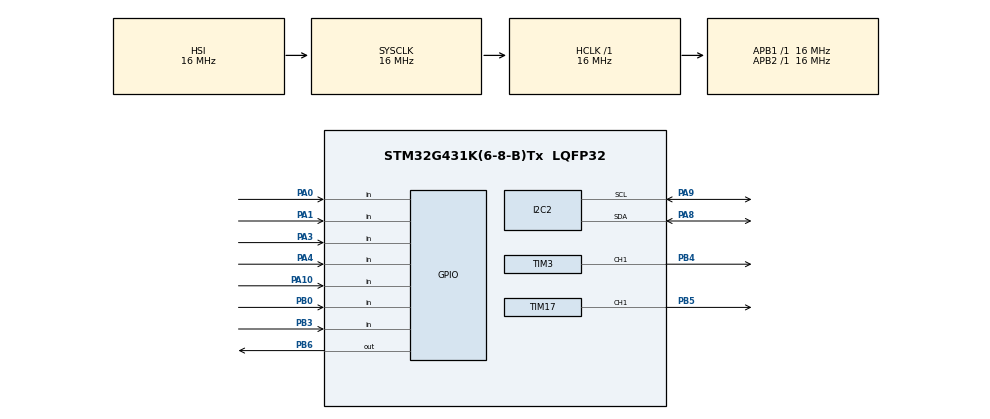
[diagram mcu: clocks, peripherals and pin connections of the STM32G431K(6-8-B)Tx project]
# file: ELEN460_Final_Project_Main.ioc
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I2C2.Speed=10
I2C2.Timing=0x40003EFF
Mcu.Family=STM32G4
Mcu.Name=STM32G431K(6-8-B)Tx
Mcu.Package=LQFP32
NVIC.PriorityGroup=NVIC_PRIORITYGROUP_4
PA0.GPIO_PuPd=GPIO_PULLUP
PA0.Signal=GPIO_Input
PA1.GPIO_PuPd=GPIO_PULLUP
PA1.Signal=GPIO_Input
PA10.GPIO_PuPd=GPIO_PULLUP
PA10.Signal=GPIO_Input
PA3.GPIO_PuPd=GPIO_PULLUP
PA3.Signal=GPIO_Input
PA4.GPIO_PuPd=GPIO_PULLUP
PA4.Signal=GPIO_Input
PA8.GPIO_Pu=GPIO_PULLUP
PA8.Mode=I2C
PA8.Signal=I2C2_SDA
PA9.GPIO_Pu=GPIO_PULLUP
PA9.Mode=I2C
PA9.Signal=I2C2_SCL
PB0.GPIO_PuPd=GPIO_PULLUP
PB0.Signal=GPIO_Input
PB3.GPIO_PuPd=GPIO_PULLUP
PB3.Signal=GPIO_Input
PB4.Signal=S_TIM3_CH1
PB5.Signal=S_TIM17_CH1
PB6.GPIO_PuPd=GPIO_PULLDOWN
PB6.Signal=GPIO_Output
ProjectManager.HeapSize=0x200
ProjectManager.StackSize=0x400
ProjectManager.TargetToolchain=EWARM V8.32
RCC.AHBFreq_Value=16000000
RCC.APB1Freq_Value=16000000
RCC.APB1TimFreq_Value=16000000
RCC.APB2Freq_Value=16000000
RCC.APB2TimFreq_Value=16000000
RCC.CortexFreq_Value=16000000
RCC.EXTERNAL_CLOCK_VALUE=12288000
RCC.HCLKFreq_Value=16000000
RCC.HSE_VALUE=8000000
RCC.HSI48_VALUE=48000000
RCC.HSI_VALUE=16000000
RCC.LSE_VALUE=32768
RCC.SYSCLKFreq_VALUE=16000000
RCC.USBFreq_Value=64000000
RCC.VCOOutputFreq_Value=128000000
SH.S_TIM17_CH1.0=TIM17_CH1,PWM Generation1 CH1
SH.S_TIM3_CH1.0=TIM3_CH1,PWM Generation1 CH1
TIM17.Channel=TIM_CHANNEL_1
TIM17.Prescaler=6
TIM3.Channel-PWM\ Generation1\ CH1=TIM_CHANNEL_1
TIM3.Prescaler=6
VP_SYS_VS_DBSignals.Mode=DisableDeadBatterySignals
VP_TIM17_VS_ClockSourceINT.Mode=Enable_Timer
board=custom

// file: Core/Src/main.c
/* USER CODE BEGIN Header */
/**
  ******************************************************************************
  * @file           : main.c
  * @brief          : Main program body
  ******************************************************************************
  * @attention
  *
  * <h2><center>&copy; Copyright (c) 2021 STMicroelectronics.
  * All rights reserved.</center></h2>
  *
  * This software component is licensed by ST under BSD 3-Clause license,
  * the "License"; You may not use this file except in compliance with the
  * License. You may obtain a copy of the License at:
  *                        opensource.org/licenses/BSD-3-Clause
  *
  ******************************************************************************
  */
/* USER CODE END Header */
#include "main.h"

/* USER CODE BEGIN Includes */
#include "KeyboardHoldRepeat.h"
#include <string.h>
/* USER CODE END Includes */

/* USER CODE BEGIN PTD */

// Button GPIO defined in main.h
#define COIL_PIN                GPIOB, GPIO_PIN_6
#define GOAL_1_PIN              GPIOB, GPIO_PIN_7
#define MOTOR_AIN1_PIN          GPIOB, GPIO_PIN_5
#define MOTOR_AIN2_PIN          GPIOB, GPIO_PIN_4
#define MOTOR_DIR_PIN           GPIOA, GPIO_PIN_10

// Game Logic
#define IDLE                    2
#define RUNNING                 3
#define END                     4

// Motor
#define MOTOR_STOP              0
#define MOTOR_RIGHT             1
#define MOTOR_LEFT              2
#define MOTOR_SPEED             20000

// I2C Device Addresses
//#define BOARD_ADDR              0x60
#define DISPLAY_1_ADDR          (0x70 << 1)
#define DISPLAY_2_ADDR          (0x71 << 1)
#define DISPLAY_3_ADDR          (0x72 << 1)
#define DISPLAY_4_ADDR          (0x73 << 1)

// Display system oscillator setup
#define DISPLAY_OSC_OFF                 0x20
#define DISPLAY_OSC_ON                  0x21
#define DISPLAY_OFF                     0x80
#define DISPLAY_ON                      0x81
#define DISPLAY_COM0_1                  0x00
#define DISPLAY_COM0_2                  0x01
#define DISPLAY_COM1_1                  0x02
#define DISPLAY_COM1_2                  0x03
#define DISPLAY_COM2_1                  0x04
#define DISPLAY_COM2_2                  0x05
#define DISPLAY_COM3_1                  0x06
#define DISPLAY_COM3_2                  0x07

// Display pins
#define A                        (1 << 0)
#define B                        (1 << 1)
#define C                        (1 << 2)
#define D                        (1 << 3)
#define E                        (1 << 4)
#define F                        (1 << 5)
#define G1                       (1 << 6)
#define G2                       (1 << 7)
#define H                        (1 << 0)
#define J                        (1 << 1)
#define K                        (1 << 2)
#define L                        (1 << 3)
#define M                        (1 << 4)
#define N                        (1 << 5)
#define DP                       (1 << 6)

#define NUMBER_OF_CHAR          16

/* USER CODE END PTD */

I2C_HandleTypeDef hi2c2;

TIM_HandleTypeDef htim3;
TIM_HandleTypeDef htim17;

/* USER CODE BEGIN PV */
uint8_t keyCode = NO_KEY_PRESSED;
uint8_t buttonPressed = false;

uint8_t state = RUNNING;

// Motor
uint8_t motorState = MOTOR_STOP;
uint8_t motorRightRequest = false;
uint8_t motorLeftRequest = false;
uint8_t limitRightSwitch = false;
uint8_t limitLeftSwitch = false;

// Display
uint8_t displayAddr = DISPLAY_1_ADDR;
uint8_t row0_7 = 0;
uint8_t row8_15 = 0;
uint8_t ram[8] = {DISPLAY_COM0_1,DISPLAY_COM0_2,DISPLAY_COM1_1,DISPLAY_COM1_2,DISPLAY_COM2_1,DISPLAY_COM2_2,DISPLAY_COM3_1,DISPLAY_COM3_2};
uint8_t buffer[3];
char arr[16];
char displayString[NUMBER_OF_CHAR];
uint8_t fireRequest = false;
uint8_t fireBusy = false;
uint8_t count = 0;
//uint8_t fireSingle = false;

/* USER CODE END PV */

void SystemClock_Config(void);
static void MX_GPIO_Init(void);
static void MX_TIM3_Init(void);
static void MX_TIM17_Init(void);
static void MX_I2C2_Init(void);
/* USER CODE BEGIN PFP */
void Motor_Set_State(uint8_t state);
void Motor_Set_AIN1(uint16_t duty);
void Motor_Set_AIN2(uint16_t duty);
void Display_Set_Char(uint8_t *first, uint8_t *second, char character);
void Display_Set(char *arr, uint8_t displayAddr);
void Display_Update_All(char *arr);
void Display_Init(uint8_t addr);
/* USER CODE END PFP */

/* USER CODE BEGIN 0 */
extern uint8_t ten_mS_Flag;
extern uint8_t twentyfive_mS_Flag;
extern uint8_t hundred_mS_Flag;
extern uint8_t twohundred_fifty_mS_Flag;
extern uint8_t five_hundred_mS_Flag;
extern uint8_t one_S_Flag;

/* USER CODE END 0 */

int main(void)
{

  /* MCU Configuration--------------------------------------------------------*/

  /* Reset of all peripherals, Initializes the Flash interface and the Systick. */
  HAL_Init();

  /* Configure the system clock */
  SystemClock_Config();

  /* Initialize all configured peripherals */
  MX_GPIO_Init();
  MX_TIM3_Init();
  MX_TIM17_Init();
  MX_I2C2_Init();
  /* USER CODE BEGIN 2 */
  HAL_TIM_PWM_Start_IT(&htim3, TIM_CHANNEL_1);
  HAL_TIM_PWM_Start_IT(&htim17, TIM_CHANNEL_1);

  // Initialize displays
  Display_Init(DISPLAY_1_ADDR);
  Display_Init(DISPLAY_2_ADDR);
  Display_Init(DISPLAY_3_ADDR);
  Display_Init(DISPLAY_4_ADDR);

  strcpy(displayString, "Insert Coin");

  Display_Update_All(displayString);

  /* USER CODE END 2 */

  /* Infinite loop */
  /* USER CODE BEGIN WHILE */
  while (1)
  {

    // 10mS Tasks
    if (ten_mS_Flag) {
      ten_mS_Flag = false;

    }

    // 25mS Tasks
    if (twentyfive_mS_Flag) {
      twentyfive_mS_Flag = false;

      /*
      // Motor test
      keyCode = ScanKeyboard();
      DebounceKeyCode(keyCode);

      // If we've gotten a valid debounced keyCode, process it
      if (processKeyCode == true) {
        ProcessKeyCode(keyCode);
      }

      motorDir = HAL_GPIO_ReadPin(MOTOR_DIR_PIN);

      if(buttonPressed) {
        // Update logic so that it only changes speed when different
        if(motorDir) {Motor_Set_State(MOTOR_FWD);}
        else {Motor_Set_State(MOTOR_REV);}
      }
      else {
        Motor_Set_State(MOTOR_STOP);
      }
      */

      keyCode = ScanKeyboard();
      DebounceKeyCode(keyCode);

      // If we've gotten a valid debounced keyCode, process it
      if (processKeyCode == true) {
        ProcessKeyCode(keyCode);
      }

      if(motorRightRequest && !limitRightSwitch) {
        Motor_Set_State(MOTOR_RIGHT);
      }
      else if(motorLeftRequest && !limitLeftSwitch) {
        Motor_Set_State(MOTOR_LEFT);
      }
      else {Motor_Set_State(MOTOR_STOP);}

    }

    // 100mS Tasks
    if (hundred_mS_Flag) {
      hundred_mS_Flag = false;
    }

    // 250ms Tasks
    if(twohundred_fifty_mS_Flag) {
      twohundred_fifty_mS_Flag = false;

      if(fireBusy) {
        fireBusy = false;
        HAL_GPIO_WritePin(COIL_PIN, GPIO_PIN_RESET);
      }

      if(fireRequest && !fireBusy) {
      //if(fireRequest) {
        fireRequest = false;
        fireBusy = true;
        HAL_GPIO_WritePin(COIL_PIN, GPIO_PIN_SET);
      }
    }

        // 500mS Tasks
    if (five_hundred_mS_Flag) {
      five_hundred_mS_Flag = false;

      //else {fireRequest = false;}

    }

    // 1 Sec Tasks
    if (one_S_Flag) {
      one_S_Flag = false;
    }

    switch(state) {
    case IDLE:

      break;
    case RUNNING:

      break;
    case END:

      break;

    }

    /* USER CODE END WHILE */

  }
}

void SystemClock_Config(void)
{
  RCC_OscInitTypeDef RCC_OscInitStruct = {0};
  RCC_ClkInitTypeDef RCC_ClkInitStruct = {0};
  RCC_PeriphCLKInitTypeDef PeriphClkInit = {0};

  /** Configure the main internal regulator output voltage
  */
  HAL_PWREx_ControlVoltageScaling(PWR_REGULATOR_VOLTAGE_SCALE1);
  /** Initializes the RCC Oscillators according to the specified parameters
  * in the RCC_OscInitTypeDef structure.
  */
  RCC_OscInitStruct.OscillatorType = RCC_OSCILLATORTYPE_HSI;
  RCC_OscInitStruct.HSIState = RCC_HSI_ON;
  RCC_OscInitStruct.HSICalibrationValue = RCC_HSICALIBRATION_DEFAULT;
  RCC_OscInitStruct.PLL.PLLState = RCC_PLL_NONE;
  if (HAL_RCC_OscConfig(&RCC_OscInitStruct) != HAL_OK)
  {
    Error_Handler();
  }
  /** Initializes the CPU, AHB and APB buses clocks
  */
  RCC_ClkInitStruct.ClockType = RCC_CLOCKTYPE_HCLK|RCC_CLOCKTYPE_SYSCLK
                              |RCC_CLOCKTYPE_PCLK1|RCC_CLOCKTYPE_PCLK2;
  RCC_ClkInitStruct.SYSCLKSource = RCC_SYSCLKSOURCE_HSI;
  RCC_ClkInitStruct.AHBCLKDivider = RCC_SYSCLK_DIV1;
  RCC_ClkInitStruct.APB1CLKDivider = RCC_HCLK_DIV1;
  RCC_ClkInitStruct.APB2CLKDivider = RCC_HCLK_DIV1;

  if (HAL_RCC_ClockConfig(&RCC_ClkInitStruct, FLASH_LATENCY_0) != HAL_OK)
  {
    Error_Handler();
  }
  /** Initializes the peripherals clocks
  */
  PeriphClkInit.I2c2ClockSelection = RCC_I2C2CLKSOURCE_PCLK1;
  if (HAL_RCCEx_PeriphCLKConfig(&PeriphClkInit) != HAL_OK)
  {
    Error_Handler();
  }
}

static void MX_I2C2_Init(void)
{

  hi2c2.Instance = I2C2;
  hi2c2.Init.Timing = 0x40003EFF;
  hi2c2.Init.OwnAddress1 = 0;
  hi2c2.Init.AddressingMode = I2C_ADDRESSINGMODE_7BIT;
  hi2c2.Init.DualAddressMode = I2C_DUALADDRESS_DISABLE;
  hi2c2.Init.OwnAddress2 = 0;
  hi2c2.Init.OwnAddress2Masks = I2C_OA2_NOMASK;
  hi2c2.Init.GeneralCallMode = I2C_GENERALCALL_DISABLE;
  hi2c2.Init.NoStretchMode = I2C_NOSTRETCH_DISABLE;
  if (HAL_I2C_Init(&hi2c2) != HAL_OK)
  {
    Error_Handler();
  }
  /** Configure Analogue filter
  */
  if (HAL_I2CEx_ConfigAnalogFilter(&hi2c2, I2C_ANALOGFILTER_ENABLE) != HAL_OK)
  {
    Error_Handler();
  }
  /** Configure Digital filter
  */
  if (HAL_I2CEx_ConfigDigitalFilter(&hi2c2, 0) != HAL_OK)
  {
    Error_Handler();
  }

}

static void MX_TIM3_Init(void)
{

  TIM_MasterConfigTypeDef sMasterConfig = {0};
  TIM_OC_InitTypeDef sConfigOC = {0};

  htim3.Instance = TIM3;
  htim3.Init.Prescaler = 4;
  htim3.Init.CounterMode = TIM_COUNTERMODE_UP;
  htim3.Init.Period = 65535;
  htim3.Init.ClockDivision = TIM_CLOCKDIVISION_DIV1;
  htim3.Init.AutoReloadPreload = TIM_AUTORELOAD_PRELOAD_DISABLE;
  if (HAL_TIM_PWM_Init(&htim3) != HAL_OK)
  {
    Error_Handler();
  }
  sMasterConfig.MasterOutputTrigger = TIM_TRGO_RESET;
  sMasterConfig.MasterSlaveMode = TIM_MASTERSLAVEMODE_DISABLE;
  if (HAL_TIMEx_MasterConfigSynchronization(&htim3, &sMasterConfig) != HAL_OK)
  {
    Error_Handler();
  }
  sConfigOC.OCMode = TIM_OCMODE_PWM1;
  sConfigOC.Pulse = 0;
  sConfigOC.OCPolarity = TIM_OCPOLARITY_HIGH;
  sConfigOC.OCFastMode = TIM_OCFAST_DISABLE;
  if (HAL_TIM_PWM_ConfigChannel(&htim3, &sConfigOC, TIM_CHANNEL_1) != HAL_OK)
  {
    Error_Handler();
  }
  HAL_TIM_MspPostInit(&htim3);

}

static void MX_TIM17_Init(void)
{

  TIM_OC_InitTypeDef sConfigOC = {0};
  TIM_BreakDeadTimeConfigTypeDef sBreakDeadTimeConfig = {0};

  htim17.Instance = TIM17;
  htim17.Init.Prescaler = 4;
  htim17.Init.CounterMode = TIM_COUNTERMODE_UP;
  htim17.Init.Period = 65535;
  htim17.Init.ClockDivision = TIM_CLOCKDIVISION_DIV1;
  htim17.Init.RepetitionCounter = 0;
  htim17.Init.AutoReloadPreload = TIM_AUTORELOAD_PRELOAD_DISABLE;
  if (HAL_TIM_Base_Init(&htim17) != HAL_OK)
  {
    Error_Handler();
  }
  if (HAL_TIM_PWM_Init(&htim17) != HAL_OK)
  {
    Error_Handler();
  }
  sConfigOC.OCMode = TIM_OCMODE_PWM1;
  sConfigOC.Pulse = 0;
  sConfigOC.OCPolarity = TIM_OCPOLARITY_HIGH;
  sConfigOC.OCNPolarity = TIM_OCNPOLARITY_HIGH;
  sConfigOC.OCFastMode = TIM_OCFAST_DISABLE;
  sConfigOC.OCIdleState = TIM_OCIDLESTATE_RESET;
  sConfigOC.OCNIdleState = TIM_OCNIDLESTATE_RESET;
  if (HAL_TIM_PWM_ConfigChannel(&htim17, &sConfigOC, TIM_CHANNEL_1) != HAL_OK)
  {
    Error_Handler();
  }
  sBreakDeadTimeConfig.OffStateRunMode = TIM_OSSR_DISABLE;
  sBreakDeadTimeConfig.OffStateIDLEMode = TIM_OSSI_DISABLE;
  sBreakDeadTimeConfig.LockLevel = TIM_LOCKLEVEL_OFF;
  sBreakDeadTimeConfig.DeadTime = 0;
  sBreakDeadTimeConfig.BreakState = TIM_BREAK_DISABLE;
  sBreakDeadTimeConfig.BreakPolarity = TIM_BREAKPOLARITY_HIGH;
  sBreakDeadTimeConfig.BreakFilter = 0;
  sBreakDeadTimeConfig.AutomaticOutput = TIM_AUTOMATICOUTPUT_DISABLE;
  if (HAL_TIMEx_ConfigBreakDeadTime(&htim17, &sBreakDeadTimeConfig) != HAL_OK)
  {
    Error_Handler();
  }
  HAL_TIM_MspPostInit(&htim17);

}

static void MX_GPIO_Init(void)
{
  GPIO_InitTypeDef GPIO_InitStruct = {0};

  /* GPIO Ports Clock Enable */
  __HAL_RCC_GPIOA_CLK_ENABLE();
  __HAL_RCC_GPIOB_CLK_ENABLE();

  /*Configure GPIO pin Output Level */
  HAL_GPIO_WritePin(GPIOB, GPIO_PIN_6, GPIO_PIN_RESET);

  /*Configure GPIO pins : PA0 PA1 PA3 PA4
                           PA10 */
  GPIO_InitStruct.Pin = GPIO_PIN_0|GPIO_PIN_1|GPIO_PIN_3|GPIO_PIN_4
                          |GPIO_PIN_10;
  GPIO_InitStruct.Mode = GPIO_MODE_INPUT;
  GPIO_InitStruct.Pull = GPIO_PULLUP;
  HAL_GPIO_Init(GPIOA, &GPIO_InitStruct);

  /*Configure GPIO pins : PB0 PB3 */
  GPIO_InitStruct.Pin = GPIO_PIN_0|GPIO_PIN_3;
  GPIO_InitStruct.Mode = GPIO_MODE_INPUT;
  GPIO_InitStruct.Pull = GPIO_PULLUP;
  HAL_GPIO_Init(GPIOB, &GPIO_InitStruct);

  /*Configure GPIO pin : PB6 */
  GPIO_InitStruct.Pin = GPIO_PIN_6;
  GPIO_InitStruct.Mode = GPIO_MODE_OUTPUT_PP;
  GPIO_InitStruct.Pull = GPIO_PULLDOWN;
  GPIO_InitStruct.Speed = GPIO_SPEED_FREQ_LOW;
  HAL_GPIO_Init(GPIOB, &GPIO_InitStruct);

}

/* USER CODE BEGIN 4 */
void Motor_Set_State(uint8_t state) {

  switch(state){
  case MOTOR_STOP:
    // Set AIN1 and AIN2 to full duty to brake the motor
    Motor_Set_AIN1(0);
    Motor_Set_AIN2(0);
    break;
  case MOTOR_RIGHT:
    Motor_Set_AIN1(MOTOR_SPEED);
    Motor_Set_AIN2(0);
    break;
  case MOTOR_LEFT:
    Motor_Set_AIN1(0);
    Motor_Set_AIN2(MOTOR_SPEED);
    break;
  }
}

void Motor_Set_AIN1(uint16_t duty) {
  TIM_OC_InitTypeDef sConfigOC = {0};

  sConfigOC.OCMode = TIM_OCMODE_PWM1;
  sConfigOC.Pulse = duty;
  sConfigOC.OCPolarity = TIM_OCPOLARITY_HIGH;
  sConfigOC.OCNPolarity = TIM_OCNPOLARITY_HIGH;
  sConfigOC.OCFastMode = TIM_OCFAST_DISABLE;
  sConfigOC.OCIdleState = TIM_OCIDLESTATE_RESET;
  sConfigOC.OCNIdleState = TIM_OCNIDLESTATE_RESET;

  HAL_TIM_PWM_Stop(&htim17, TIM_CHANNEL_1);
  HAL_TIM_PWM_ConfigChannel(&htim17, &sConfigOC, TIM_CHANNEL_1);
  HAL_TIM_PWM_Start(&htim17, TIM_CHANNEL_1);

}

void Motor_Set_AIN2(uint16_t duty) {
  TIM_OC_InitTypeDef sConfigOC = {0};

  sConfigOC.OCMode = TIM_OCMODE_PWM1;
  sConfigOC.Pulse = duty;
  sConfigOC.OCPolarity = TIM_OCPOLARITY_HIGH;
  sConfigOC.OCNPolarity = TIM_OCNPOLARITY_HIGH;
  sConfigOC.OCFastMode = TIM_OCFAST_DISABLE;
  sConfigOC.OCIdleState = TIM_OCIDLESTATE_RESET;
  sConfigOC.OCNIdleState = TIM_OCNIDLESTATE_RESET;

  HAL_TIM_PWM_Stop(&htim3, TIM_CHANNEL_1);
  HAL_TIM_PWM_ConfigChannel(&htim3, &sConfigOC, TIM_CHANNEL_1);
  HAL_TIM_PWM_Start(&htim3, TIM_CHANNEL_1);

}

void Display_Set_Char(uint8_t *first, uint8_t *second, char character){

  switch(character){
  case '0':
    *first = A | B | C | D | E | F;
    *second = 0;
    break;
  case '1':
    *first = B | C;
    *second = 0;
    break;
  case '2':
    *first = A | B | D | E | G1 | G2;
    *second = 0;
    break;
  case '3':
    *first = A | B | C | D | G1 | G2;
    *second = 0;
    break;
  case '4':
    *first = B | C | F | G1 | G2;
    *second = 0;
    break;
  case '5':
    *first = A | C | D | F | G1 | G2;
    *second = 0;
    break;
  case '6':
    *first = A | C | D | E | F | G1 | G2;
    *second = 0;
    break;
  case '7':
    *first = A | B | C;
    *second = 0;
    break;
  case '8':
    *first = A | B | C | D | E | F | G1 | G2;
    *second = 0;
    break;
  case '9':
    *first = A | B | C | D | F | G1 | G2;
    *second = 0;
    break;
  case 'a':
  case 'A':
    *first = A | B | C | E | F | G1 | G2;
    *second = 0;
    break;
  case 'b':
  case 'B':
    *first = C | D | E | F | G1 | G2;
    *second = 0;
    break;
  case 'c':
  case 'C':
    *first = A | D | E | F;
    *second = 0;
    break;
  case 'd':
  case 'D':
    *first = A | B | C | D;
    *second = J | M;
    break;
  case 'e':
  case 'E':
    *first = A | D | E | F | G1 | G2;
    *second = 0;
    break;
  case 'f':
  case 'F':
    *first = A | E | F | G1 | G2;
    *second = 0;
    break;
  case 'g':
  case 'G':

    break;
  case 'h':
  case 'H':
    *first = B | C | E | F | G1 | G2;
    *second = 0;
    break;
  case 'i':
  case 'I':
    *first = A | D;
    *second = J | M;
    break;
  case 'j':
  case 'J':
    *first = B | C | D | E;
    *second = 0;
    break;
  case 'k':
  case 'K':
    *first = E | F | G1;
    *second = K | N;
    break;
  case 'l':
  case 'L':
    *first = D | E | F;
    *second = 0;
    break;
  case 'm':
  case 'M':
    *first = B | C | E | F;
    *second = H | K;
    break;
  case 'n':
  case 'N':
    *first = B | C | E | F;
    *second = H | N;
    break;
  case 'o':
  case 'O':
    *first = A | B | C | D | E | F;
    *second = 0;
    break;
  case 'p':
  case 'P':
    *first = A | B | E | F | G1 | G2;
    *second = 0;
    break;
  case 'q':
  case 'Q':

    break;
  case 'r':
  case 'R':
    *first = A | B | E | F | G1 | G2;
    *second = N;
    break;
  case 's':
  case 'S':
    *first = A | C | D | F | G1 | G2;
    *second = 0;
    break;
  case 't':
  case 'T':
    *first = A;
    *second = J | M;
    break;
  case 'u':
  case 'U':
    *first = B | C | D | E | F;
    *second = 0;
    break;
  case 'v':
  case 'V':

    break;
  case 'w':
  case 'W':

    break;
  case 'x':
  case 'X':

    break;
  case 'y':
  case 'Y':

    break;
  case 'z':
  case 'Z':

    break;

  default:
    *first = 0;
    *second = 0;
    break;
  }

}

void Display_Init(uint8_t addr){
  // Start internal clock
  uint8_t buf[2] = {DISPLAY_OSC_ON,0};
  HAL_I2C_Master_Transmit(&hi2c2, addr, buf, 1, HAL_MAX_DELAY);

  // Turn off all LEDs on display 1
  buf[0] = DISPLAY_COM0_1;
  buf[1] = 0;
  HAL_I2C_Master_Transmit(&hi2c2, addr, buf, 2, HAL_MAX_DELAY);
  buf[0] = DISPLAY_COM0_2;
  buf[1] = 0;
  HAL_I2C_Master_Transmit(&hi2c2, addr, buf, 2, HAL_MAX_DELAY);

  // Turn off all LEDs on display 2
  buf[0] = DISPLAY_COM1_1;
  buf[1] = 0;
  HAL_I2C_Master_Transmit(&hi2c2, addr, buf, 2, HAL_MAX_DELAY);
  buf[0] = DISPLAY_COM1_2;
  buf[1] = 0;
  HAL_I2C_Master_Transmit(&hi2c2, addr, buf, 2, HAL_MAX_DELAY);

  // Turn off all LEDs on display 3
  buf[0] = DISPLAY_COM2_1;
  buf[1] = 0;
  HAL_I2C_Master_Transmit(&hi2c2, addr, buf, 2, HAL_MAX_DELAY);
  buf[0] = DISPLAY_COM2_2;
  buf[1] = 0;
  HAL_I2C_Master_Transmit(&hi2c2, addr, buf, 2, HAL_MAX_DELAY);

  // Turn off all LEDs on display 4
  buf[0] = DISPLAY_COM3_1;
  buf[1] = 0;
  HAL_I2C_Master_Transmit(&hi2c2, addr, buf, 2, HAL_MAX_DELAY);
  buf[0] = DISPLAY_COM3_2;
  buf[1] = 0;
  HAL_I2C_Master_Transmit(&hi2c2, addr, buf, 2, HAL_MAX_DELAY);
}

void Display_Set(char *arr, uint8_t displayAddr){
  for(uint8_t i = 0; i < 4; i++){
    Display_Set_Char(&row0_7, &row8_15, *(arr + i));
    // Send first half
    buffer[0] = ram[i*2];
    buffer[1] = row0_7;
    HAL_I2C_Master_Transmit(&hi2c2, displayAddr, buffer, 2, HAL_MAX_DELAY);

    // Send second half
    buffer[0] = ram[(i*2)+1];
    buffer[1] = row8_15;
    HAL_I2C_Master_Transmit(&hi2c2, displayAddr, buffer, 2, HAL_MAX_DELAY);
  }

  // Turn on the display
  buffer[0] = DISPLAY_ON;
  HAL_I2C_Master_Transmit(&hi2c2, displayAddr, buffer, 1, HAL_MAX_DELAY);

}

void Display_Update_All(char *arr) {
  Display_Set(arr, DISPLAY_1_ADDR);
  Display_Set(&arr[4], DISPLAY_2_ADDR);
  Display_Set(&arr[8], DISPLAY_3_ADDR);
  Display_Set(&arr[12], DISPLAY_4_ADDR);
}
/* USER CODE END 4 */

void Error_Handler(void)
{
  __disable_irq();
  while (1)
  {
  }
}

/************************ (C) COPYRIGHT STMicroelectronics *****END OF FILE****/
